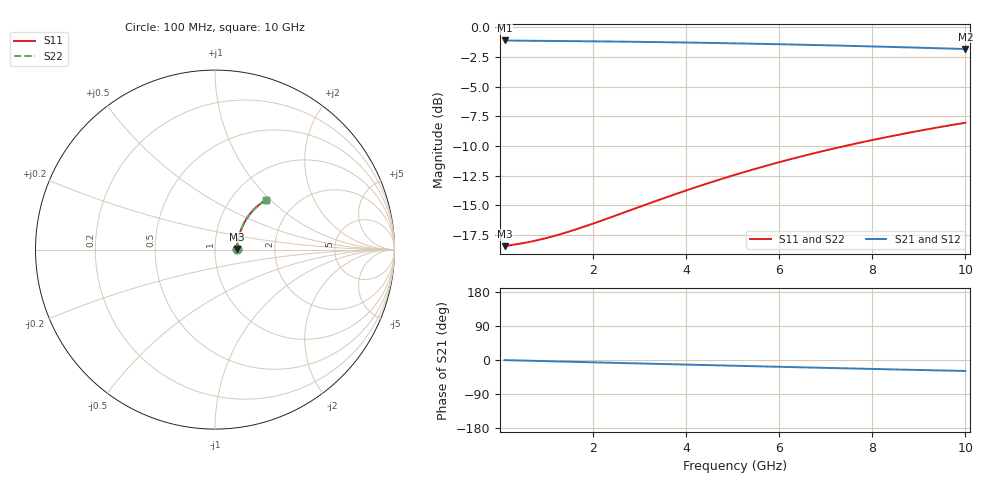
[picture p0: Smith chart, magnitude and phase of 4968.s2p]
# Hz S RI R 50.00
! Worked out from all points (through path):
!   100 points, 100 MHz to 10 GHz, reference 50 ohm
!   highest |S21| = -1.11 dB at 100 MHz (marker M1); lowest = -1.8 dB at 10 GHz (marker M2)
!   group delay of S21, straight-line fit = 8.07 ps
!   lowest |S11| = -18.4 dB at 100 MHz (marker M3), VSWR 1.27, Z = 63.6 + j0.46 ohm
!   |S11| at or under -10 dB: start of sweep to 7.404 GHz
!   |S22| runs from -18.4 to -8.0 dB; largest |S21 - S12| = 0
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1e8  0.1198 0.00356  0.8802 -0.00471  0.8802 -0.00471  0.1198 0.00356
5e8  0.1222 0.0177  0.8778 -0.0234  0.8778 -0.0234  0.1222 0.0177
7e8  0.1232 0.0247  0.8767 -0.0328  0.8767 -0.0328  0.1232 0.0247
9e8  0.1243 0.0318  0.8756 -0.0421  0.8756 -0.0421  0.1243 0.0318
1.1e9  0.1255 0.0387  0.8745 -0.0513  0.8745 -0.0513  0.1255 0.0387
1.3e9  0.1267 0.0457  0.8732 -0.0606  0.8732 -0.0606  0.1267 0.0457
1.5e9  0.128 0.0526  0.8718 -0.0698  0.8718 -0.0698  0.128 0.0526
1.8e9  0.1303 0.0629  0.8695 -0.0835  0.8695 -0.0835  0.1303 0.0629
2.6e9  0.1376 0.0899  0.8619 -0.1197  0.8619 -0.1197  0.1376 0.0899
3.4e9  0.147 0.116  0.8522 -0.155  0.8522 -0.155  0.147 0.116
3.9e9  0.1538 0.1317  0.8451 -0.1765  0.8451 -0.1765  0.1538 0.1317
4.3e9  0.1598 0.144  0.8388 -0.1934  0.8388 -0.1934  0.1598 0.144
4.7e9  0.1663 0.156  0.8321 -0.21  0.8321 -0.21  0.1663 0.156
5.1e9  0.1732 0.1676  0.825 -0.2262  0.825 -0.2262  0.1732 0.1676
5.5e9  0.1805 0.1788  0.8173 -0.242  0.8173 -0.242  0.1805 0.1788
5.9e9  0.1882 0.1897  0.8093 -0.2575  0.8093 -0.2575  0.1882 0.1897
6.7e9  0.2047 0.2102  0.7921 -0.2873  0.7921 -0.2873  0.2047 0.2102
7.5e9  0.2225 0.2291  0.7735 -0.3155  0.7735 -0.3155  0.2225 0.2291
7.9e9  0.2318 0.2378  0.7638 -0.3289  0.7638 -0.3289  0.2318 0.2378
8.4e9  0.2438 0.2482  0.7512 -0.3451  0.7512 -0.3451  0.2438 0.2482
9.2e9  0.2636 0.2633  0.7303 -0.3695  0.7303 -0.3695  0.2636 0.2633
1e10  0.2842 0.2766  0.7087 -0.3922  0.7087 -0.3922  0.2842 0.2766
